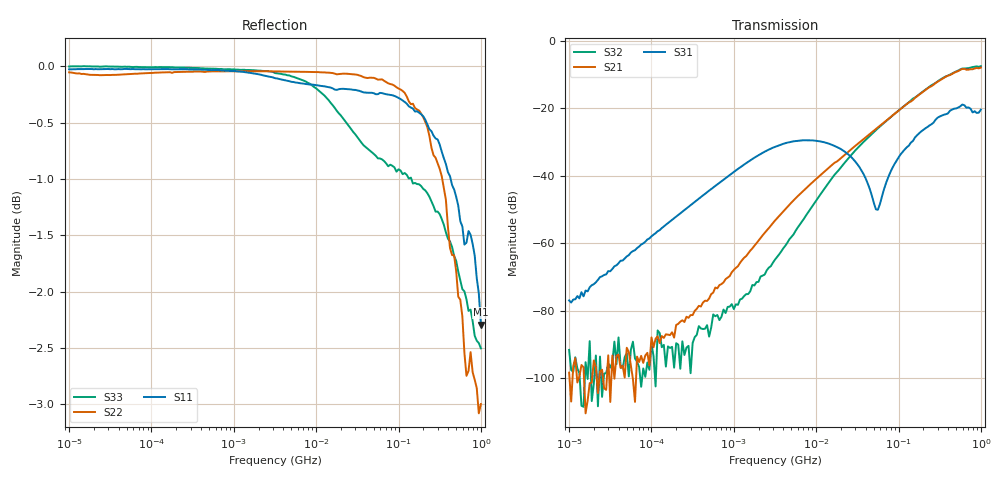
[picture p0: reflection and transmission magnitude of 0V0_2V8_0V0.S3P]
!Keysight Technologies,E5080A,MY55100144,A.11.70.03
!Date: Monday, November 13, 2017 17:24:41
!Correction: S11(Full 3 Port(1,2,3))
!S12(Full 3 Port(1,2,3))
!S13(Full 3 Port(1,2,3))
!S21(Full 3 Port(1,2,3))
!S22(Full 3 Port(1,2,3))
!S23(Full 3 Port(1,2,3))
!S31(Full 3 Port(1,2,3))
!S32(Full 3 Port(1,2,3))
!S33(Full 3 Port(1,2,3))
!S3P File: Measurements: <S11,S12,S13>,
!<S21,S22,S23>,
!<S31,S32,S33>:Log Frequency Sweep
# Hz S  RI  R 50
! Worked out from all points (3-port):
!   201 points, 10 kHz to 1 GHz, reference 50 ohm
!   strongest paths, dB at 10 kHz, 177.8 kHz, 3.162 MHz, 56.23 MHz, 1 GHz:
!     S31: -76.9, -53.1, -31.5, -50.1, -20.5
!     S21: -98.3, -86.4, -53.3, -25.7, -8.0
!     S32: -91.6, -90.7, -64.9, -26.0, -7.6
!   lowest |S11| = -2.3 dB at 1 GHz (marker M1), VSWR 7.62, Z = 381 + j0.708 ohm
!   |S11| at or under -10 dB: nowhere
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10000  0.9969 -0.00587  6.83e-06 1.05e-05  2.74e-06 0.00013
       -1.19e-05 -2.13e-06  0.4708 -0.8752  -2.28e-07 1.44e-05
       -2.65e-06 0.000142  2.04e-05 -1.67e-05  0.9997 -0.00253
63095.73  0.9963 -0.037  8.5e-07 6.63e-06  1.23e-05 0.000782
          -2.79e-06 3.5e-06  -0.86 -0.4953  5.4e-06 2.47e-05
          2.92e-05 0.000788  -1.96e-05 1.06e-06  0.9993 -0.00694
421696.5  0.9664 -0.2426  -4.23e-05 9.95e-05  0.000904 0.00499
          -4.06e-05 0.000126  -0.9914 -0.0774  7.02e-06 4.7e-05
          0.000918 0.00501  -2.51e-05 4.74e-05  0.997 -0.0411
3162278  0.0703 -0.9854  -0.00104 0.00188  0.0209 0.0164
         -0.00101 0.00191  -0.9948 0.0046  -0.00039 0.000395
         0.021 0.0163  -0.000376 0.000431  0.95 -0.2894
1.995262e7  -0.9406 -0.2647  -0.000464 0.0181  0.0204 -0.0139
            -0.000435 0.0181  -0.9881 0.092  -0.00748 0.0109
            0.0205 -0.0139  -0.00748 0.0109  0.0396 -0.9501
5.623413e7  -0.97 0.0613  0.00975 0.0509  0.00294 0.0011
            0.0098 0.0508  -0.952 0.2581  -0.0042 0.05
            0.00294 0.00108  -0.00423 0.0501  -0.7603 -0.5004
1.059254e8  -0.9318 0.2589  0.0382 0.0889  0.00842 0.0187
            0.0384 0.089  -0.8594 0.4636  0.0242 0.0941
            0.00841 0.0188  0.0241 0.094  -0.8943 -0.091
3.758374e8  -0.3688 0.8265  0.2896 0.0327  0.0808 -0.00614
            0.2899 0.0326  0.0974 0.8671  0.2897 0.0569
            0.0809 -0.00623  0.2894 0.0569  -0.4868 0.6894
7.079458e8  0.4642 0.7061  0.1985 -0.3125  0.0115 -0.1015
            0.1982 -0.3127  0.6967 0.2264  0.2452 -0.3032
            0.0114 -0.1016  0.2455 -0.303  0.2573 0.7351
1e9  0.768 0.000381  -0.1007 -0.3845  -0.057 -0.0755
     -0.1011 -0.3845  0.5908 -0.3903  -0.0465 -0.4144
     -0.0571 -0.0754  -0.0462 -0.4144  0.6822 0.3108
